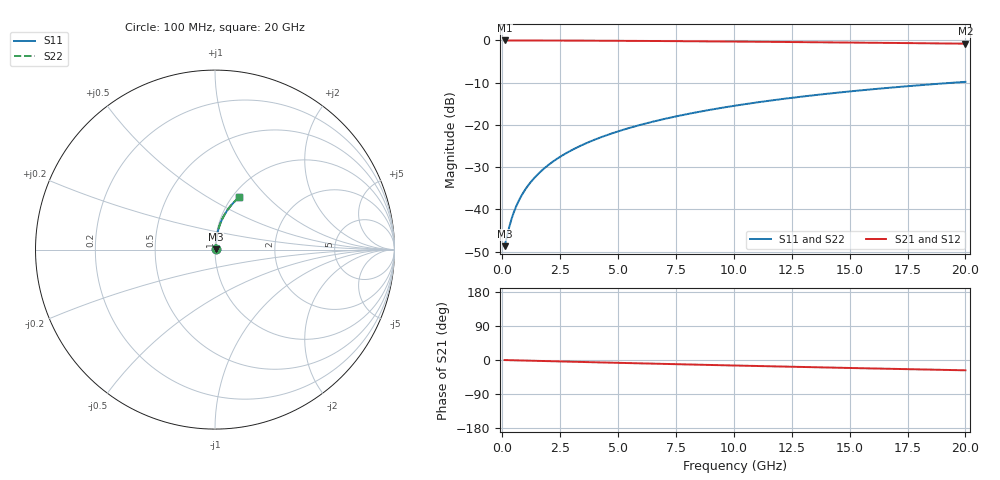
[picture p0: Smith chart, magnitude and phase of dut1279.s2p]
! Touchstone file exported from HFSS 2024.1.0
!  File:  C:/UserFiles/LocalFiles/RDL_TSV_Batchsim/temp_RDL_top_1279_1780242458.aedt
!  Generated:  11:49:57 PM May 31, 2026
!  Design:  RDL_top
!  Project:  temp_RDL_top_1279_1780242458
!  Setup:  Setup1
!  Solution:  Sweep
! Variables:
!  dtsv = 10.80580581um
!  hbump = 3um
!  htsv = 59.24um
!  ldown = 100um
!  lrdl = 338.16um
!  p = 40
!  p1 = 42.45um
!  rhole = 1um
!  t = 450um
!  tdown = 3.915915916um
!  trdl = 2.97um
!  wdown = 15.38538539um
!  wrdl = 13.12um
# GHz S MA R 50.000000
! Terminal data exported
! Port[1] = Box2_T1
! Port[2] = Box2_T2
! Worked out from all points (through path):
!   200 points, 100 MHz to 20 GHz, reference 50 ohm
!   highest |S21| = -0.03 dB at 100 MHz (marker M1); lowest = -0.8 dB at 20 GHz (marker M2)
!   group delay of S21, straight-line fit = 3.77 ps
!   lowest |S11| = -48.7 dB at 100 MHz (marker M3), VSWR 1.01, Z = 50.3 + j0.176 ohm
!   |S11| at or under -10 dB: start of sweep to 19.53 GHz
!   |S22| runs from -48.7 to -9.8 dB; largest |S21 - S12| = 2.1e-15
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0.1  0.003674 28.4  0.9968 -0.2  0.9968 -0.2  0.003674 28.4
! Gamma 0 0 0 0
! Port Impedance 50 0 50 0
0.3  0.006192 57.3  0.9966 -0.5  0.9966 -0.5  0.006192 57.3
0.4  0.007714 63.6  0.9966 -0.6  0.9966 -0.6  0.007714 63.6
0.5  0.009285 67.7  0.9965 -0.8  0.9965 -0.8  0.009285 67.7
0.6  0.01088 70.6  0.9964 -0.9  0.9964 -0.9  0.01088 70.6
0.7  0.01248 72.8  0.9963 -1.1  0.9963 -1.1  0.01248 72.8
0.9  0.0157 75.7  0.9961 -1.4  0.9961 -1.4  0.0157 75.7
1.2  0.02057 78.4  0.9958 -1.8  0.9958 -1.8  0.02057 78.4
1.4  0.02383 79.5  0.9955 -2.1  0.9955 -2.1  0.02383 79.5
1.7  0.02875 80.7  0.9952 -2.6  0.9952 -2.6  0.02875 80.7
2.2  0.037 81.8  0.9944 -3.3  0.9944 -3.3  0.037 81.8
2.8  0.04695 82.4  0.9934 -4.2  0.9934 -4.2  0.04695 82.4
3.5  0.05862 82.6  0.9918 -5.3  0.9918 -5.3  0.05862 82.6
4.2  0.07034 82.5  0.99 -6.3  0.99 -6.3  0.07034 82.5
5  0.08379 82.1  0.9877 -7.5  0.9877 -7.5  0.08379 82.1
5.9  0.09895 81.4  0.9847 -8.8  0.9847 -8.8  0.09895 81.4
6.8  0.1141 80.6  0.9813 -10.1  0.9813 -10.1  0.1141 80.6
8.3  0.1394 79.1  0.9752 -12.2  0.9752 -12.2  0.1394 79.1
10.1  0.1695 77.1  0.967 -14.7  0.967 -14.7  0.1695 77.1
13.4  0.2234 73.1  0.9504 -19.0  0.9504 -19.0  0.2234 73.1
16.7  0.2747 69.0  0.9324 -23.2  0.9324 -23.2  0.2747 69.0
20  0.323 65.0  0.9132 -27.2  0.9132 -27.2  0.3229 65.0
